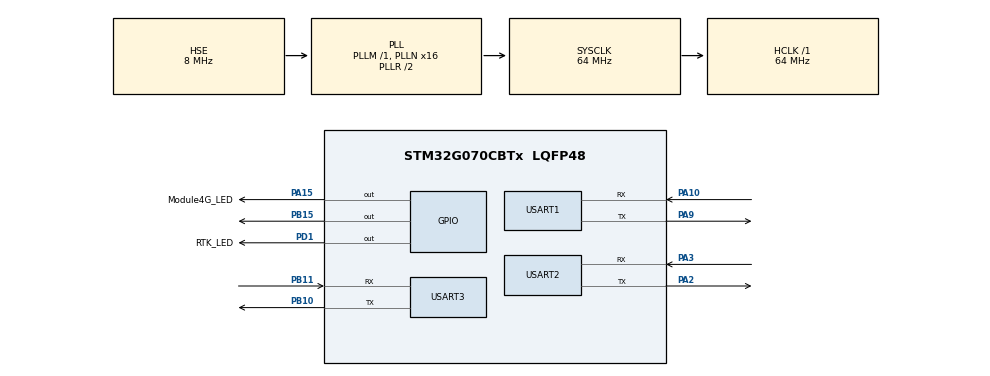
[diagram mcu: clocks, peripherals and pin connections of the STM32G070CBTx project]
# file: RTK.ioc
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Dma.Request0=USART1_RX
Dma.Request1=USART1_TX
Dma.Request2=USART2_RX
Dma.Request3=USART2_TX
Dma.Request4=USART3_RX
Dma.Request5=USART3_TX
Dma.USART1_RX.0.Direction=DMA_PERIPH_TO_MEMORY
Dma.USART1_RX.0.EventEnable=DISABLE
Dma.USART1_RX.0.Instance=DMA1_Channel1
Dma.USART1_RX.0.MemDataAlignment=DMA_MDATAALIGN_BYTE
Dma.USART1_RX.0.MemInc=DMA_MINC_ENABLE
Dma.USART1_RX.0.Mode=DMA_NORMAL
Dma.USART1_RX.0.PeriphDataAlignment=DMA_PDATAALIGN_BYTE
Dma.USART1_RX.0.PeriphInc=DMA_PINC_DISABLE
Dma.USART1_RX.0.Polarity=HAL_DMAMUX_REQ_GEN_RISING
Dma.USART1_RX.0.Priority=DMA_PRIORITY_LOW
Dma.USART1_RX.0.RequestNumber=1
Dma.USART1_RX.0.SignalID=NONE
Dma.USART1_RX.0.SyncEnable=DISABLE
Dma.USART1_RX.0.SyncPolarity=HAL_DMAMUX_SYNC_NO_EVENT
Dma.USART1_RX.0.SyncRequestNumber=1
Dma.USART1_RX.0.SyncSignalID=NONE
Dma.USART1_TX.1.Direction=DMA_MEMORY_TO_PERIPH
Dma.USART1_TX.1.EventEnable=DISABLE
Dma.USART1_TX.1.Instance=DMA1_Channel2
Dma.USART1_TX.1.MemDataAlignment=DMA_MDATAALIGN_BYTE
Dma.USART1_TX.1.MemInc=DMA_MINC_ENABLE
Dma.USART1_TX.1.Mode=DMA_NORMAL
Dma.USART1_TX.1.PeriphDataAlignment=DMA_PDATAALIGN_BYTE
Dma.USART1_TX.1.PeriphInc=DMA_PINC_DISABLE
Dma.USART1_TX.1.Polarity=HAL_DMAMUX_REQ_GEN_RISING
Dma.USART1_TX.1.Priority=DMA_PRIORITY_LOW
Dma.USART1_TX.1.RequestNumber=1
Dma.USART1_TX.1.SignalID=NONE
Dma.USART1_TX.1.SyncEnable=DISABLE
Dma.USART1_TX.1.SyncPolarity=HAL_DMAMUX_SYNC_NO_EVENT
Dma.USART1_TX.1.SyncRequestNumber=1
Dma.USART1_TX.1.SyncSignalID=NONE
Dma.USART2_RX.2.Direction=DMA_PERIPH_TO_MEMORY
Dma.USART2_RX.2.EventEnable=DISABLE
Dma.USART2_RX.2.Instance=DMA1_Channel3
Dma.USART2_RX.2.MemDataAlignment=DMA_MDATAALIGN_BYTE
Dma.USART2_RX.2.MemInc=DMA_MINC_ENABLE
Dma.USART2_RX.2.Mode=DMA_NORMAL
Dma.USART2_RX.2.PeriphDataAlignment=DMA_PDATAALIGN_BYTE
Dma.USART2_RX.2.PeriphInc=DMA_PINC_DISABLE
Dma.USART2_RX.2.Polarity=HAL_DMAMUX_REQ_GEN_RISING
Dma.USART2_RX.2.Priority=DMA_PRIORITY_LOW
Dma.USART2_RX.2.RequestNumber=1
Dma.USART2_RX.2.SignalID=NONE
Dma.USART2_RX.2.SyncEnable=DISABLE
Dma.USART2_RX.2.SyncPolarity=HAL_DMAMUX_SYNC_NO_EVENT
Dma.USART2_RX.2.SyncRequestNumber=1
Dma.USART2_RX.2.SyncSignalID=NONE
Dma.USART2_TX.3.Direction=DMA_MEMORY_TO_PERIPH
Dma.USART2_TX.3.EventEnable=DISABLE
Dma.USART2_TX.3.Instance=DMA1_Channel4
Dma.USART2_TX.3.MemDataAlignment=DMA_MDATAALIGN_BYTE
Dma.USART2_TX.3.MemInc=DMA_MINC_ENABLE
Dma.USART2_TX.3.Mode=DMA_NORMAL
Dma.USART2_TX.3.PeriphDataAlignment=DMA_PDATAALIGN_BYTE
Dma.USART2_TX.3.PeriphInc=DMA_PINC_DISABLE
Dma.USART2_TX.3.Polarity=HAL_DMAMUX_REQ_GEN_RISING
Dma.USART2_TX.3.Priority=DMA_PRIORITY_LOW
Dma.USART2_TX.3.RequestNumber=1
Dma.USART2_TX.3.SignalID=NONE
Dma.USART2_TX.3.SyncEnable=DISABLE
Dma.USART2_TX.3.SyncPolarity=HAL_DMAMUX_SYNC_NO_EVENT
Dma.USART2_TX.3.SyncRequestNumber=1
Dma.USART2_TX.3.SyncSignalID=NONE
Dma.USART3_RX.4.Direction=DMA_PERIPH_TO_MEMORY
Dma.USART3_RX.4.EventEnable=DISABLE
Dma.USART3_RX.4.Instance=DMA1_Channel5
Dma.USART3_RX.4.MemDataAlignment=DMA_MDATAALIGN_BYTE
Dma.USART3_RX.4.MemInc=DMA_MINC_ENABLE
Dma.USART3_RX.4.Mode=DMA_NORMAL
Dma.USART3_RX.4.PeriphDataAlignment=DMA_PDATAALIGN_BYTE
Dma.USART3_RX.4.PeriphInc=DMA_PINC_DISABLE
Dma.USART3_RX.4.Polarity=HAL_DMAMUX_REQ_GEN_RISING
Dma.USART3_RX.4.Priority=DMA_PRIORITY_LOW
Dma.USART3_RX.4.RequestNumber=1
Dma.USART3_RX.4.SignalID=NONE
Dma.USART3_RX.4.SyncEnable=DISABLE
Dma.USART3_RX.4.SyncPolarity=HAL_DMAMUX_SYNC_NO_EVENT
Dma.USART3_RX.4.SyncRequestNumber=1
Dma.USART3_RX.4.SyncSignalID=NONE
Dma.USART3_TX.5.Direction=DMA_MEMORY_TO_PERIPH
Dma.USART3_TX.5.EventEnable=DISABLE
Dma.USART3_TX.5.Instance=DMA1_Channel6
Dma.USART3_TX.5.MemDataAlignment=DMA_MDATAALIGN_BYTE
Dma.USART3_TX.5.MemInc=DMA_MINC_ENABLE
Dma.USART3_TX.5.Mode=DMA_NORMAL
Dma.USART3_TX.5.PeriphDataAlignment=DMA_PDATAALIGN_BYTE
Dma.USART3_TX.5.PeriphInc=DMA_PINC_DISABLE
Dma.USART3_TX.5.Polarity=HAL_DMAMUX_REQ_GEN_RISING
Dma.USART3_TX.5.Priority=DMA_PRIORITY_LOW
Dma.USART3_TX.5.RequestNumber=1
Dma.USART3_TX.5.SignalID=NONE
Dma.USART3_TX.5.SyncEnable=DISABLE
Dma.USART3_TX.5.SyncPolarity=HAL_DMAMUX_SYNC_NO_EVENT
Dma.USART3_TX.5.SyncRequestNumber=1
Dma.USART3_TX.5.SyncSignalID=NONE
FREERTOS.Tasks01=G431_Task,3,512,StartG431_Task,Default,NULL,Dynamic,NULL,NULL;Module4G_Task,-1,256,StartModule4G_Task,Default,NULL,Dynamic,NULL,NULL;RTK_Task,-3,512,StartRTK_Task,Default,NULL,Dynamic,NULL,NULL
FREERTOS.Timers01=Timer01,Callback01,osTimerOnce,Default,NULL,Dynamic,NULL
FREERTOS.configGENERATE_RUN_TIME_STATS=0
FREERTOS.configMAX_CO_ROUTINE_PRIORITIES=2
FREERTOS.configTOTAL_HEAP_SIZE=12800
FREERTOS.configUSE_TIMERS=1
IWDG.Prescaler=IWDG_PRESCALER_32
IWDG.Reload=1000
IWDG.Window=1000
Mcu.Family=STM32G0
Mcu.Name=STM32G070CBTx
Mcu.Package=LQFP48
NVIC.DMA1_Ch4_7_DMAMUX1_OVR_IRQn=true\:3\:0\:false\:false\:true\:true\:false\:true\:true
NVIC.DMA1_Channel1_IRQn=true\:3\:0\:false\:false\:true\:true\:false\:true\:true
NVIC.DMA1_Channel2_3_IRQn=true\:3\:0\:false\:false\:true\:true\:false\:true\:true
NVIC.TIM6_IRQn=true\:3\:0\:false\:false\:true\:false\:false\:true\:true
NVIC.TimeBase=TIM6_IRQn
NVIC.TimeBaseIP=TIM6
NVIC.USART1_IRQn=true\:1\:0\:true\:false\:true\:false\:true\:true\:true
NVIC.USART2_IRQn=true\:3\:0\:true\:false\:true\:false\:true\:true\:true
NVIC.USART3_4_IRQn=true\:2\:0\:true\:false\:true\:false\:true\:true\:true
PA10.GPIO_PuPd=GPIO_PULLUP
PA10.GPIO_Speed=GPIO_SPEED_FREQ_VERY_HIGH
PA10.Mode=Asynchronous
PA10.Signal=USART1_RX
PA13.Mode=Serial_Wire
PA13.Signal=SYS_SWDIO
PA14-BOOT0.Mode=Serial_Wire
PA14-BOOT0.Signal=SYS_SWCLK
PA15.GPIO_Label=Module4G_LED
PA15.GPIO_PuPd=GPIO_PULLUP
PA15.GPIO_Speed=GPIO_SPEED_FREQ_VERY_HIGH
PA15.Signal=GPIO_Output
PA2.GPIO_PuPd=GPIO_PULLUP
PA2.GPIO_Speed=GPIO_SPEED_FREQ_VERY_HIGH
PA2.Mode=Asynchronous
PA2.Signal=USART2_TX
PA3.GPIO_PuPd=GPIO_PULLUP
PA3.GPIO_Speed=GPIO_SPEED_FREQ_VERY_HIGH
PA3.Mode=Asynchronous
PA3.Signal=USART2_RX
PA9.GPIO_PuPd=GPIO_PULLUP
PA9.GPIO_Speed=GPIO_SPEED_FREQ_VERY_HIGH
PA9.Mode=Asynchronous
PA9.Signal=USART1_TX
PB10.GPIO_PuPd=GPIO_PULLUP
PB10.GPIO_Speed=GPIO_SPEED_FREQ_VERY_HIGH
PB10.Mode=Asynchronous
PB10.Signal=USART3_TX
PB11.GPIO_PuPd=GPIO_PULLUP
PB11.GPIO_Speed=GPIO_SPEED_FREQ_VERY_HIGH
PB11.Mode=Asynchronous
PB11.Signal=USART3_RX
PB15.GPIO_PuPd=GPIO_PULLDOWN
PB15.GPIO_Speed=GPIO_SPEED_FREQ_VERY_HIGH
PB15.Signal=GPIO_Output
PD1.GPIO_Label=RTK_LED
PD1.GPIO_PuPd=GPIO_PULLUP
PD1.GPIO_Speed=GPIO_SPEED_FREQ_VERY_HIGH
PD1.Signal=GPIO_Output
PF0-OSC_IN\ (PF0).Mode=HSE-External-Oscillator
PF0-OSC_IN\ (PF0).Signal=RCC_OSC_IN
PF1-OSC_OUT\ (PF1).Mode=HSE-External-Oscillator
PF1-OSC_OUT\ (PF1).Signal=RCC_OSC_OUT
ProjectManager.HeapSize=0x800
ProjectManager.StackSize=0x800
ProjectManager.TargetToolchain=MDK-ARM V5.32
RCC.ADCFreq_Value=64000000
RCC.AHBFreq_Value=64000000
RCC.CortexFreq_Value=64000000
RCC.EXTERNAL_CLOCK_VALUE=48000
RCC.HCLKFreq_Value=64000000
RCC.HSE_VALUE=8000000
RCC.HSI_VALUE=16000000
RCC.LSE_VALUE=32768
RCC.PLLN=16
RCC.PLLSourceVirtual=RCC_PLLSOURCE_HSE
RCC.SYSCLKFreq_VALUE=64000000
RCC.SYSCLKSource=RCC_SYSCLKSOURCE_PLLCLK
RCC.VCOOutputFreq_Value=128000000
STMicroelectronics.X-CUBE-TOUCHGFX.4.20.0_IsPackSelfContextualization=true
USART1.VirtualMode-Asynchronous=VM_ASYNC
USART2.VirtualMode-Asynchronous=VM_ASYNC
USART3.VirtualMode-Asynchronous=VM_ASYNC
VP_FREERTOS_VS_CMSIS_V1.Mode=CMSIS_V1
VP_IWDG_VS_IWDG.Mode=IWDG_Activate
VP_SYS_VS_DBSignals.Mode=DisableDeadBatterySignals
VP_SYS_VS_tim6.Mode=TIM6
board=custom

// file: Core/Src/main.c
/* USER CODE BEGIN Header */
/**
  ******************************************************************************
  * @file           : main.c
  * @brief          : Main program body
  ******************************************************************************
  * @attention
  *
  * Copyright (c) 2024 STMicroelectronics.
  * All rights reserved.
  *
  * This software is licensed under terms that can be found in the LICENSE file
  * in the root directory of this software component.
  * If no LICENSE file comes with this software, it is provided AS-IS.
  *
  ******************************************************************************
  */
/* USER CODE END Header */
#include "main.h"
#include "cmsis_os.h"
#include "dma.h"
#include "iwdg.h"
#include "usart.h"
#include "gpio.h"

/* USER CODE BEGIN Includes */
#include "g431_usart.h"
#include "4gmodule.h"
#include "rtk.h"
#include "flash.h"
#include <stdio.h>
#include <stdint.h>
#include <string.h>
#include "base64.h"
/* USER CODE END Includes */

/* USER CODE BEGIN PTD */
//创建模拟二值信号量
BinarySemaphoreStructure BinarySemaphore= {0};
/* USER CODE END PTD */

void SystemClock_Config(void);
void MX_FREERTOS_Init(void);

/* USER CODE BEGIN 0 */
extern //4G模块配置信息标志\
0:\
1:开始配置\
2:配置成功\
3:信息错误
uint8_t ConfigurationFlag;
/* USER CODE END 0 */

int main(void)
{

  /* MCU Configuration--------------------------------------------------------*/

  /* Reset of all peripherals, Initializes the Flash interface and the Systick. */
  HAL_Init();

  /* Configure the system clock */
  SystemClock_Config();

  /* Initialize all configured peripherals */
  MX_GPIO_Init();
  MX_DMA_Init();
  MX_USART1_UART_Init();
  MX_USART2_UART_Init();
  MX_USART3_UART_Init();
  MX_IWDG_Init();
  /* USER CODE BEGIN 2 */
//    __HAL_UART_ENABLE_IT(&huart1, UART_IT_IDLE);
//    HAL_UART_Receive_DMA(&huart1, USART1_RxStruct.Rx_Buff, 200);

    __HAL_UART_ENABLE_IT(&huart2, UART_IT_IDLE);
    HAL_UART_Receive_DMA(&huart2, USART2_RxStruct.Rx_Buff, 200);

    __HAL_UART_ENABLE_IT(&huart3, UART_IT_IDLE);
    HAL_UART_Receive_DMA(&huart3, USART3_RxStruct.Rx_Buff, Rx_LENG);

    HAL_GPIO_WritePin(Module4G_LED_GPIO_Port,Module4G_LED_Pin,GPIO_PIN_SET);

    uint8_t str[100];
    uint8_t temp[100];
    uint8_t base64[100];
    uint8_t UpperString[300];

    sprintf((char*)str,"%s","Init\r\n");
    HAL_UART_Transmit(&huart1, str, strlen((char*)str),1000);

	HAL_UART_Transmit(&huart2, "$CORS,0,0,0,0", strlen((char*)"$CORS,0,0,0,0"),1000);

    //将数据写入
    //USER_FLASH_Write((uint8_t*)"$CORS,1,4,9,cedr17622,hm0dcvnt\n");

    //读取数据并解析
    sprintf((char*)temp,"%s",USER_FLASH_Read());
    ParseCORS((char*)temp,1);
    ParseCORS((char*)temp,2);
    ParseCORS((char*)temp,3);
    ParseCORS((char*)temp,4);
    ParseCORS((char*)temp,5);

	HAL_UART_Transmit(&huart2, CORS_Struct.Account, strlen((char*)CORS_Struct.Account),1000);

    //进行数据加密
    sprintf((char*)temp,"%s:%s",CORS_Struct.Account,CORS_Struct.Password);

    HAL_UART_Transmit(&huart2, temp, strlen((char*)temp),1000);

    base64_encode((uint8_t*)temp,(char*)base64);
    sprintf((char*)str,"%s\r\n",base64);

    //得到数据并输出
    sprintf((char*)UpperString,"$CORS,%c,%c,%d,%s",
        CORS_Struct.DNS,CORS_Struct.Port,CORS_Struct.MountPoint,
    str);
    HAL_UART_Transmit(&huart1, UpperString, strlen((char*)UpperString),1000);

    HAL_GPIO_WritePin(RTK_LED_GPIO_Port,RTK_LED_Pin,GPIO_PIN_SET);
    HAL_GPIO_WritePin(Module4G_LED_GPIO_Port,Module4G_LED_Pin,GPIO_PIN_SET);
    while(1)
    {
        static uint8_t bbb = 0;
        if(bbb ++ == 18)
        {
            bbb = 0;
            goto START;
        }

        HAL_Delay(1000);

        switch(ConfigurationFlag)
        {
            case(0):
                HAL_GPIO_WritePin(RTK_LED_GPIO_Port,RTK_LED_Pin,GPIO_PIN_RESET);
                HAL_GPIO_WritePin(Module4G_LED_GPIO_Port,Module4G_LED_Pin,GPIO_PIN_RESET);

                HAL_UART_Transmit(&huart2, UpperString, strlen((char*)UpperString),1000);
                break;
            case(1)://开始配置
                HAL_GPIO_WritePin(RTK_LED_GPIO_Port,RTK_LED_Pin,GPIO_PIN_SET);
                HAL_GPIO_WritePin(Module4G_LED_GPIO_Port,Module4G_LED_Pin,GPIO_PIN_RESET);

                HAL_UART_Transmit(&huart2, UpperString, strlen((char*)UpperString),1000);
                break;
            case(2)://配置成功
                HAL_GPIO_WritePin(RTK_LED_GPIO_Port,RTK_LED_Pin,GPIO_PIN_RESET);
                HAL_GPIO_WritePin(Module4G_LED_GPIO_Port,Module4G_LED_Pin,GPIO_PIN_SET);

                HAL_UART_Transmit(&huart2, UpperString, strlen((char*)UpperString),1000);
                goto START;
            case(3)://信息错误
                HAL_GPIO_WritePin(RTK_LED_GPIO_Port,RTK_LED_Pin,GPIO_PIN_SET);
                HAL_GPIO_WritePin(Module4G_LED_GPIO_Port,Module4G_LED_Pin,GPIO_PIN_SET);

                HAL_UART_Transmit(&huart2, UpperString, strlen((char*)UpperString),1000);
                break;
        }
        sprintf((char*)str,">>%d\r\n",ConfigurationFlag);
        HAL_UART_Transmit(&huart1, str, strlen((char*)str),1000);
        ConfigurationFlag = 0;
    }

    START:
    HAL_GPIO_WritePin(RTK_LED_GPIO_Port,RTK_LED_Pin,GPIO_PIN_SET);
    HAL_GPIO_WritePin(Module4G_LED_GPIO_Port,Module4G_LED_Pin,GPIO_PIN_SET);

    __HAL_UART_ENABLE_IT(&huart1, UART_IT_IDLE);
    HAL_UART_Receive_DMA(&huart1, USART1_RxStruct.Rx_Buff, 200);
  /* USER CODE END 2 */

  /* Call init function for freertos objects (in cmsis_os2.c) */
  MX_FREERTOS_Init();

  /* Start scheduler */
  osKernelStart();

  /* We should never get here as control is now taken by the scheduler */

  /* Infinite loop */
    while (1)
        {

        }
}

void SystemClock_Config(void)
{
  RCC_OscInitTypeDef RCC_OscInitStruct = {0};
  RCC_ClkInitTypeDef RCC_ClkInitStruct = {0};

  /** Configure the main internal regulator output voltage
  */
  HAL_PWREx_ControlVoltageScaling(PWR_REGULATOR_VOLTAGE_SCALE1);

  /** Initializes the RCC Oscillators according to the specified parameters
  * in the RCC_OscInitTypeDef structure.
  */
  RCC_OscInitStruct.OscillatorType = RCC_OSCILLATORTYPE_LSI|RCC_OSCILLATORTYPE_HSE;
  RCC_OscInitStruct.HSEState = RCC_HSE_ON;
  RCC_OscInitStruct.LSIState = RCC_LSI_ON;
  RCC_OscInitStruct.PLL.PLLState = RCC_PLL_ON;
  RCC_OscInitStruct.PLL.PLLSource = RCC_PLLSOURCE_HSE;
  RCC_OscInitStruct.PLL.PLLM = RCC_PLLM_DIV1;
  RCC_OscInitStruct.PLL.PLLN = 16;
  RCC_OscInitStruct.PLL.PLLP = RCC_PLLP_DIV2;
  RCC_OscInitStruct.PLL.PLLR = RCC_PLLR_DIV2;
  if (HAL_RCC_OscConfig(&RCC_OscInitStruct) != HAL_OK)
  {
    Error_Handler();
  }

  /** Initializes the CPU, AHB and APB buses clocks
  */
  RCC_ClkInitStruct.ClockType = RCC_CLOCKTYPE_HCLK|RCC_CLOCKTYPE_SYSCLK
                              |RCC_CLOCKTYPE_PCLK1;
  RCC_ClkInitStruct.SYSCLKSource = RCC_SYSCLKSOURCE_PLLCLK;
  RCC_ClkInitStruct.AHBCLKDivider = RCC_SYSCLK_DIV1;
  RCC_ClkInitStruct.APB1CLKDivider = RCC_HCLK_DIV1;

  if (HAL_RCC_ClockConfig(&RCC_ClkInitStruct, FLASH_LATENCY_2) != HAL_OK)
  {
    Error_Handler();
  }
}

void HAL_TIM_PeriodElapsedCallback(TIM_HandleTypeDef *htim)
{
  if (htim->Instance == TIM6) {
    HAL_IncTick();
  }
}

void Error_Handler(void)
{
    __disable_irq();
    while (1)
        {
        }
}

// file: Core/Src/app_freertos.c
/* USER CODE BEGIN Header */
/**
  ******************************************************************************
  * File Name          : app_freertos.c
  * Description        : Code for freertos applications
  ******************************************************************************
  * @attention
  *
  * Copyright (c) 2024 STMicroelectronics.
  * All rights reserved.
  *
  * This software is licensed under terms that can be found in the LICENSE file
  * in the root directory of this software component.
  * If no LICENSE file comes with this software, it is provided AS-IS.
  *
  ******************************************************************************
  */
  /* USER CODE END Header */

  /* Includes ------------------------------------------------------------------*/
#include "FreeRTOS.h"
#include "task.h"
#include "main.h"
#include "cmsis_os.h"

/* USER CODE BEGIN Includes */
#include "usart.h"
#include "g431_usart.h"
#include "4gmodule.h"
#include "rtk.h"
#include <string.h>
#include "nmea.h"
#include "iwdg.h"
#include "flash.h"
#include <stdlib.h>
#include <stdio.h>
#include <string.h>
/* USER CODE END Includes */

/* USER CODE BEGIN Variables */
extern //判断指令类型
uint8_t OrderType;
extern //判断返回信息标志
uint8_t ReturnFlag;
extern //判断是内部发送还是通过G431接收的
uint8_t InsideOrOutside;

extern GPRMC_Structure GPRMCH_Struct;

/* USER CODE END Variables */
osThreadId G431_TaskHandle;
osThreadId Module4G_TaskHandle;
osThreadId RTK_TaskHandle;
osTimerId Timer01Handle;

void StartG431_Task(void const* argument);
void StartModule4G_Task(void const* argument);
void StartRTK_Task(void const* argument);
void Callback01(void const* argument);

void MX_FREERTOS_Init(void); /* (MISRA C 2004 rule 8.1) */

void MX_FREERTOS_Init(void) {

    /* Create the timer(s) */
    /* definition and creation of Timer01 */
    osTimerDef(Timer01, Callback01);
    Timer01Handle = osTimerCreate(osTimer(Timer01), osTimerOnce, NULL);

    /* Create the thread(s) */
    /* definition and creation of G431_Task */
    osThreadDef(G431_Task, StartG431_Task, osPriorityRealtime, 0, 512);
    G431_TaskHandle = osThreadCreate(osThread(G431_Task), NULL);

    /* definition and creation of Module4G_Task */
    osThreadDef(Module4G_Task, StartModule4G_Task, osPriorityBelowNormal, 0, 256);
    Module4G_TaskHandle = osThreadCreate(osThread(Module4G_Task), NULL);

    /* definition and creation of RTK_Task */
    osThreadDef(RTK_Task, StartRTK_Task, osPriorityIdle, 0, 512);
    RTK_TaskHandle = osThreadCreate(osThread(RTK_Task), NULL);

    /* USER CODE BEGIN RTOS_THREADS */
      /* add threads, ... */
  //    //挂起自动上报任务
  //    osThreadSuspend(RTK_TaskHandle);
    /* USER CODE END RTOS_THREADS */

}

void StartG431_Task(void const* argument)
{
    /* USER CODE BEGIN StartG431_Task */
    hiwdg.Instance = IWDG;
    hiwdg.Init.Prescaler = IWDG_PRESCALER_32;
    hiwdg.Init.Window = 1000;
    hiwdg.Init.Reload = 1000;
    if (HAL_IWDG_Init(&hiwdg) != HAL_OK)
    {
        Error_Handler();
    }
    /* Infinite loop */
    for (;;)
    {
        HAL_IWDG_Refresh(&hiwdg);
        if (myOSOK == AcquireBinarySemaphore(BinarySemaphore.G431_Rx4GBinarySemHandle))
        {
            DeleteBinarySemaphore(BinarySemaphore.G431_Rx4GBinarySemHandle);
            taskENTER_CRITICAL();
            //向4G模块发送指令
            HAL_UART_Transmit_DMA(&huart2, USART1_RxStruct.Buff, USART1_RxStruct.Rx_len - 2);

            taskEXIT_CRITICAL();
        }
        if (myOSOK == AcquireBinarySemaphore(BinarySemaphore.G431_RxRTKBinarySemHandle))
        {
            DeleteBinarySemaphore(BinarySemaphore.G431_RxRTKBinarySemHandle);
            taskENTER_CRITICAL();
            //向RTK模块发送指令
            HAL_UART_Transmit_DMA(&huart3, USART1_RxStruct.Buff, USART1_RxStruct.Rx_len);

            taskEXIT_CRITICAL();
        }

        osDelay(1);
    }
    /* USER CODE END StartG431_Task */
}

void StartModule4G_Task(void const* argument)
{
    /* USER CODE BEGIN StartModule4G_Task */
      /* Infinite loop */
    for (;;)
    {
        if (myOSOK == AcquireBinarySemaphore(BinarySemaphore.Module4G_RxBinarySemHandle))
        {
            DeleteBinarySemaphore(BinarySemaphore.Module4G_RxBinarySemHandle);
            taskENTER_CRITICAL();

            //OK信息
            if (ReturnFlag == 1)
            {
                //配置完成后需要等待一段时间
                osTimerStart(Timer01Handle, 10000);//1000代表回调函数回调周期
            }
            //+GSTATE:6001（确认配置成功）
            else if (ReturnFlag == 2)
            {
                //处理返回信息
                uint8_t buff[10] = { 0xAC,0x4F,0x4B,0x90 };
                HAL_UART_Transmit(&huart1, buff, 4, 100);
            }
            else if (ReturnFlag == 3)
            {
                //处理返回信息
                uint8_t buff[10] = { 0xAC,'E','R','R',0x90 };
                HAL_UART_Transmit(&huart1, buff, 5, 100);
            }
            else if (ReturnFlag == 4)
            {
                //处理返回信息
                HAL_UART_Transmit(&huart1, USART2_RxStruct.Buff, USART2_RxStruct.Rx_len, 1000);
            }

            taskEXIT_CRITICAL();
        }
        if (myOSOK == AcquireBinarySemaphore(BinarySemaphore.Module4GControlBinarySemHandle))
        {
            DeleteBinarySemaphore(BinarySemaphore.Module4GControlBinarySemHandle);
            DeleteBinarySemaphore(BinarySemaphore.RTK_RxRMCBinarySemHandle);
            taskENTER_CRITICAL();

            Modules4G_Struct.ControlByte = 0;
            Modules4G_Struct.DirByte = 0;
            for (int i = 0; i < 12; i++)
            {
                ParseModules4G((char*)USART2_RxStruct.Buff, i);
            }

            if(Modules4G_Struct.Speed[0] == 99
                && Modules4G_Struct.Speed[1] == 99 &&
            Modules4G_Struct.Speed[2] == 99 &&
            Modules4G_Struct.Speed[3] == 99)
            {
                Modules4G_Struct.TxBuff[0] = 0xeb;
                Modules4G_Struct.TxBuff[1] = 99;
                Modules4G_Struct.TxBuff[2] = 99;
                Modules4G_Struct.TxBuff[3] = 99;
                Modules4G_Struct.TxBuff[4] = 99;
                Modules4G_Struct.TxBuff[5] = 99;
                Modules4G_Struct.TxBuff[6] = 99;
                Modules4G_Struct.TxBuff[7] = 0x90;

                //向控制板（大板）发送控制指令
                HAL_UART_Transmit(&huart1, Modules4G_Struct.TxBuff, 8, 1000);
            }
            if(Modules4G_Struct.Speed[0] == 88
                && Modules4G_Struct.Speed[1] == 88 &&
            Modules4G_Struct.Speed[2] == 88 &&
            Modules4G_Struct.Speed[3] == 88)
            {
                Modules4G_Struct.TxBuff[0] = 0xeb;
                Modules4G_Struct.TxBuff[1] = 88;
                Modules4G_Struct.TxBuff[2] = 88;
                Modules4G_Struct.TxBuff[3] = 88;
                Modules4G_Struct.TxBuff[4] = 88;
                Modules4G_Struct.TxBuff[5] = 88;
                Modules4G_Struct.TxBuff[6] = 88;
                Modules4G_Struct.TxBuff[7] = 0x90;

                //向控制板（大板）发送控制指令
                HAL_UART_Transmit(&huart1, Modules4G_Struct.TxBuff, 8, 1000);
            }
            if(Modules4G_Struct.Speed[0] == 77
                && Modules4G_Struct.Speed[1] == 77 &&
            Modules4G_Struct.Speed[2] == 77 &&
            Modules4G_Struct.Speed[3] == 77)
            {
                Modules4G_Struct.TxBuff[0] = 0xeb;
                Modules4G_Struct.TxBuff[1] = 77;
                Modules4G_Struct.TxBuff[2] = 77;
                Modules4G_Struct.TxBuff[3] = 77;
                Modules4G_Struct.TxBuff[4] = 77;
                Modules4G_Struct.TxBuff[5] = 77;
                Modules4G_Struct.TxBuff[6] = 77;
                Modules4G_Struct.TxBuff[7] = 0x90;

                //向控制板（大板）发送控制指令
                HAL_UART_Transmit(&huart1, Modules4G_Struct.TxBuff, 8, 1000);
            }
            if(Modules4G_Struct.Speed[0] == 66
                && Modules4G_Struct.Speed[1] == 66 &&
            Modules4G_Struct.Speed[2] == 66 &&
            Modules4G_Struct.Speed[3] == 66)
            {
                Modules4G_Struct.TxBuff[0] = 0xeb;
                Modules4G_Struct.TxBuff[1] = 66;
                Modules4G_Struct.TxBuff[2] = 66;
                Modules4G_Struct.TxBuff[3] = 66;
                Modules4G_Struct.TxBuff[4] = 66;
                Modules4G_Struct.TxBuff[5] = 66;
                Modules4G_Struct.TxBuff[6] = 66;
                Modules4G_Struct.TxBuff[7] = 0x90;

                //向控制板（大板）发送控制指令
                HAL_UART_Transmit(&huart1, Modules4G_Struct.TxBuff, 8, 1000);
            }
            if(Modules4G_Struct.Speed[0] == 55
                && Modules4G_Struct.Speed[1] == 55 &&
            Modules4G_Struct.Speed[2] == 55 &&
            Modules4G_Struct.Speed[3] == 55)
            {
                Modules4G_Struct.TxBuff[0] = 0xeb;
                Modules4G_Struct.TxBuff[1] = 55;
                Modules4G_Struct.TxBuff[2] = 55;
                Modules4G_Struct.TxBuff[3] = 55;
                Modules4G_Struct.TxBuff[4] = 55;
                Modules4G_Struct.TxBuff[5] = 55;
                Modules4G_Struct.TxBuff[6] = 55;
                Modules4G_Struct.TxBuff[7] = 0x90;

                //向控制板（大板）发送控制指令
                HAL_UART_Transmit(&huart1, Modules4G_Struct.TxBuff, 8, 1000);
            }
            else
            {
                Modules4G_Struct.TxBuff[0] = 0xeb;
                Modules4G_Struct.TxBuff[1] = Modules4G_Struct.ControlByte;
                Modules4G_Struct.TxBuff[2] = Modules4G_Struct.DirByte;
                Modules4G_Struct.TxBuff[3] = Modules4G_Struct.Speed[0];
                Modules4G_Struct.TxBuff[4] = Modules4G_Struct.Speed[1];
                Modules4G_Struct.TxBuff[5] = Modules4G_Struct.Speed[2];
                Modules4G_Struct.TxBuff[6] = Modules4G_Struct.Speed[3];
                Modules4G_Struct.TxBuff[7] = 0x90;

                //向控制板（大板）发送控制指令
                HAL_UART_Transmit(&huart1, Modules4G_Struct.TxBuff, 8, 1000);
            }

            taskEXIT_CRITICAL();
        }
        if (myOSOK == AcquireBinarySemaphore(BinarySemaphore.Module4GAccPassConfBinarySemHandle))
        {
            DeleteBinarySemaphore(BinarySemaphore.Module4GAccPassConfBinarySemHandle);
            taskENTER_CRITICAL();

            uint8_t temp[200] = { 0 };

            HAL_GPIO_TogglePin(Module4G_LED_GPIO_Port, Module4G_LED_Pin);

            sprintf((char*)temp, "%s", USART2_RxStruct.Buff);
            HAL_UART_Transmit(&huart1, temp, strlen((char*)temp), 1000);
            USER_FLASH_Write((uint8_t*)temp);

            HAL_NVIC_SystemReset();

            taskEXIT_CRITICAL();
        }
        if (myOSOK == AcquireBinarySemaphore(BinarySemaphore.RTKConfigBinarySemHandle))
        {
            DeleteBinarySemaphore(BinarySemaphore.RTKConfigBinarySemHandle);
            taskENTER_CRITICAL();

            Parse4G_RTKConfig((char*)USART2_RxStruct.Buff, 0, COM_Callback);
            Parse4G_RTKConfig((char*)USART2_RxStruct.Buff, 1, GGA_Callback);
            Parse4G_RTKConfig((char*)USART2_RxStruct.Buff, 2, RMC_Callback);
            Parse4G_RTKConfig((char*)USART2_RxStruct.Buff, 3, GSV_Callback);
            Parse4G_RTKConfig((char*)USART2_RxStruct.Buff, 4, Freq_Callback);
            Parse4G_RTKConfig((char*)USART2_RxStruct.Buff, 5, Satellite_Callback);
            Parse4G_RTKConfig((char*)USART2_RxStruct.Buff, 6, Antenna_Callback);

//            uint8_t temp[200] = { 0 };

//            sprintf((char*)temp, "%d--%d--%d--%d--%d--%d--%d",
//                Mod4G_Struct.COM,
//                Mod4G_Struct.GGA,
//                Mod4G_Struct.GSV,
//                Mod4G_Struct.RMC,
//                Mod4G_Struct.Freq,
//                Mod4G_Struct.Satellite,
//                Mod4G_Struct.Antenna
//            );
//            HAL_UART_Transmit(&huart1, temp, strlen((char*)temp), 1000);
            //设置RTK
            ConfigRTK(Mod4G_Struct);

            taskEXIT_CRITICAL();
        }

        osDelay(1);
    }
    /* USER CODE END StartModule4G_Task */
}

/* USER CODE BEGIN Header_StartRTK_Task */
/**
* @brief Function implementing the RTK_Task thread.
* @param argument: Not used
* @retval None
*/
double AzimuthAngle;
/* USER CODE END Header_StartRTK_Task */
void StartRTK_Task(void const* argument)
{
    /* USER CODE BEGIN StartRTK_Task */
      /* Infinite loop */
    for (;;)
    {
        if (myOSOK == AcquireBinarySemaphore(BinarySemaphore.RTK_RxRMCBinarySemHandle))
        {
            DeleteBinarySemaphore(BinarySemaphore.RTK_RxRMCBinarySemHandle);

            HAL_GPIO_TogglePin(RTK_LED_GPIO_Port, RTK_LED_Pin);

            char info1[100];
            char info2[100];
            char info3[100];

            char outinfo1[100];
            char outinfo2[100];
            char outinfo3[100];

            const char* delimiter = "\r\n";

            separateString((char*)USART3_RxStruct.Buff, delimiter, info1, info2, info3);
            processInfo((uint8_t*)info1, (uint8_t*)info2, (uint8_t*)info3, (uint8_t*)outinfo1, (uint8_t*)outinfo2, (uint8_t*)outinfo3, 100);

            for (uint8_t i = 0; i <= 14; i++)
            {
                ParseGPRMC((char*)outinfo1, i);
                ParseGPGGA((char*)outinfo2, i);
                //ParseGPRMCH((char*)outinfo3, i);
                AzimuthAngle = ParseGPTHS((char*)outinfo3);
            }
            taskENTER_CRITICAL();

//            float temp = ParseGPTHS((char*)outinfo3);
//            char str[100];
//            sprintf(str,"%f\r\n",temp);
//            HAL_UART_Transmit(&huart1, (uint8_t*)str, strlen(str),1000);

            copyRMCData();//大板
            HAL_UART_Transmit(&huart1, OutGNxxxData, 78,1000);

            taskEXIT_CRITICAL();
        }
        osDelay(1);
    }
    /* USER CODE END StartRTK_Task */
}

/* Callback01 function */
void Callback01(void const* argument)
{
    /* USER CODE BEGIN Callback01 */
    taskENTER_CRITICAL();
    InsideOrOutside = 0;
    //发送查询命令
    HAL_UART_Transmit(&huart2, (uint8_t*)"AT*GSTATE?\r\n", strlen("AT*GSTATE?\r\n"), 1000);
    HAL_UART_Transmit(&huart2, (uint8_t*)"AT*GSTATE?\r\n", strlen("AT*GSTATE?\r\n"), 1000);
    HAL_UART_Transmit(&huart2, (uint8_t*)"AT*GSTATE?\r\n", strlen("AT*GSTATE?\r\n"), 1000);
    HAL_UART_Transmit(&huart2, (uint8_t*)"AT*GSTATE?\r\n", strlen("AT*GSTATE?\r\n"), 1000);
    HAL_UART_Transmit(&huart2, (uint8_t*)"AT*GSTATE?\r\n", strlen("AT*GSTATE?\r\n"), 1000);
    taskEXIT_CRITICAL();
    /* USER CODE END Callback01 */
}
